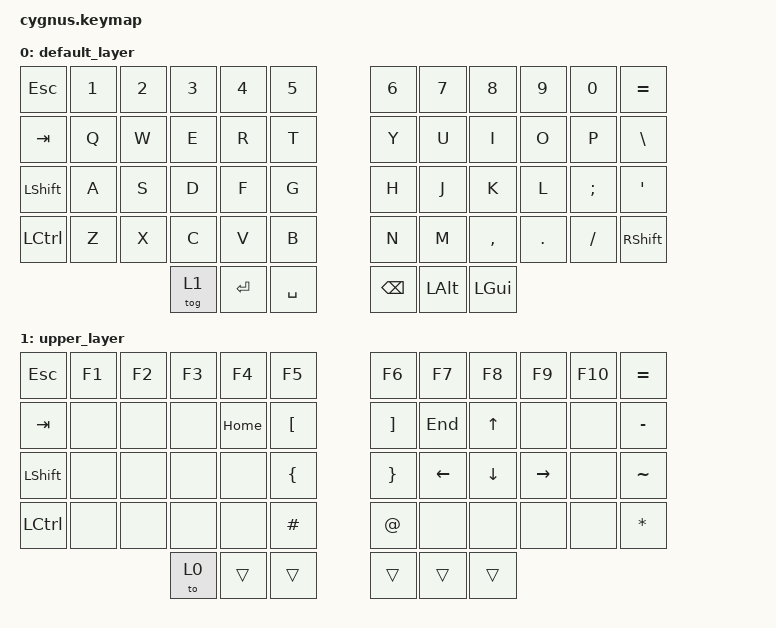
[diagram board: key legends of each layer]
#include <behaviors.dtsi>
#include <dt-bindings/zmk/bt.h>
#include <dt-bindings/zmk/keys.h>
//#include <behaviors/rgbled_widget.dtsi>
#include <dt-bindings/zmk/outputs.h>

/ {

    keymap {
        compatible = "zmk,keymap";

        default_layer {

// -----------------------------------------------------------------------------------------
// -----------------------------------------------------------------------------------------new
// |  ESC |  1  |  2  |  3  |  4  |  5  |   |  6  |  7   |  8  |  9  |  0  |  =   |
// |  TAB |  Q  |  W  |  E  |  R  |  T  |   |  Y  |  U   |  I  |  O  |  P  |  \   |
// | SHFT |  A  |  S  |  D  |  F  |  G  |   |  H  |  J   |  K  |  L  |  ;  |  '   |
// | CTRL |  Z  |  X  |  C  |  V  |  B  |   |  N  |  M   |   , |  .  |  /  | SHFT |
//                    | RSE |RET | SPC |   | BKSP| ALT  | GUI |
// -----------------------------------------------------------------------------------------
// -----------------------------------------------------------------------------------------

                        bindings = <
   &kp ESC   &kp N1 &kp N2 &kp N3     &kp N4    &kp N5   &kp N6   &kp N7 &kp N8    &kp N9  &kp N0   &kp EQUAL
   &kp TAB   &kp Q  &kp W  &kp E      &kp R     &kp T    &kp Y    &kp U  &kp I     &kp O   &kp P    &kp BSLH
   &kp LSHFT &kp A  &kp S  &kp D      &kp F     &kp G    &kp H    &kp J  &kp K     &kp L   &kp SEMI &kp APOS
   &kp LCTRL &kp Z  &kp X  &kp C      &kp V     &kp B    &kp N    &kp M  &kp COMMA &kp DOT &kp FSLH &kp RSHFT
                    &tog 1 &kp RET    &kp SPACE &kp BSPC &kp LALT &kp LGUI
                        >;
                };

                upper_layer {

// -----------------------------------------------------------------------------------------
// -----------------------------------------------------------------------------------------new
// |  ESC |  F1 |  F2 |  F3 |  F4 |  F5 |   |  F6 |  F7 |  F8 |  F9 |  F10 | EQUAL |
// |  TAB |     |     |     | HOME|  [  |   |  ]  | END | UP  |     |      | MINUS |
// | SHFT |     |     |     |     |  {  |   |  }  | LFT | DWN | RGT |      | TILDE |
// | CTRL |     |     |     |     |  #  |   |  @  |     |     |     |      | *     |
//                    | LWR |     |     |   |     |     |     |
// -----------------------------------------------------------------------------------------
// -----------------------------------------------------------------------------------------

                        bindings = <
   &kp ESC   &kp F1 &kp F2 &kp F3  &kp F4   &kp F5    &kp F6   &kp F7         &kp F8         &kp F9          &kp F10 &kp EQUAL
   &kp TAB   &none  &none  &none   &kp HOME &kp LBKT  &kp RBKT &kp END        &kp UP_ARROW   &none           &none   &kp MINUS
   &kp LSHFT &none  &none  &none   &none    &kp LBRC  &kp RBRC &kp LEFT_ARROW &kp DOWN_ARROW &kp RIGHT_ARROW &none   &kp TILDE
   &kp LCTRL &none  &none  &none   &none    &kp HASH  &kp AT   &none          &none          &none           &none   &kp STAR
                           &to 0   &trans   &trans    &trans   &trans         &trans
                        >;
                };
        };
};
